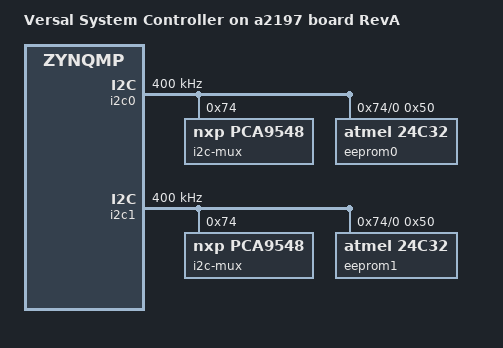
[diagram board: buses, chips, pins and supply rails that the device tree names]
// SPDX-License-Identifier: GPL-2.0
/*
 * dts file for Xilinx Versal a2197 RevA System Controller on MGT
 *
 * (C) Copyright 2019-2022 Xilinx, Inc.
 * (C) Copyright 2022 Advanced Micro Devices, Inc. All Rights Reserved.
 *
 * Michal Simek <michal.simek@xilinx.com>
 */

/ {
	model = "Versal System Controller on a2197 board RevA";
	compatible = "xlnx,zynqmp-a2197-revA", "xlnx,zynqmp-a2197", "xlnx,zynqmp";

	aliases {
                i2c0 = &i2c0;
                nvmem0 = &eeprom1;
                nvmem1 = &eeprom0;
                serial0 = &uart0;
        };

};

&i2c0 {
	u-boot,dm-pre-reloc;
	clock-frequency = <400000>;
	i2c-mux@74 { /* this cover MGT board */
		compatible = "nxp,pca9548";
		#address-cells = <1>;
		#size-cells = <0>;
		reg = <0x74>;
		u-boot,dm-pre-reloc;
		/* FIXME reset connected to SYSCTRL_IIC_MUX0_RESET */
		i2c@0 {
			#address-cells = <1>;
			#size-cells = <0>;
			reg = <0>;
			/* Use for storing information about SC board */
			eeprom0: eeprom@50 { /* u96 - 24LC32A - 256B */
				compatible = "atmel,24c32";
				u-boot,dm-pre-reloc;
				reg = <0x50>;
			};
		};
	};
};

&i2c1 {
	u-boot,dm-pre-reloc;
	clock-frequency = <400000>;
	i2c-mux@74 { /* This cover processor board */
		compatible = "nxp,pca9548";
		#address-cells = <1>;
		#size-cells = <0>;
		reg = <0x74>;
		u-boot,dm-pre-reloc;
		/* FIXME reset connected to SYSCTRL_IIC_MUX0_RESET */
		i2c@0 {
			#address-cells = <1>;
			#size-cells = <0>;
			reg = <0>;
			/* Use for storing information about SC board */
			eeprom1: eeprom@50 { /* u96 - 24LC32A - 256B */
				compatible = "atmel,24c32";
				u-boot,dm-pre-reloc;
				reg = <0x50>;
			};
		};
	};
};
